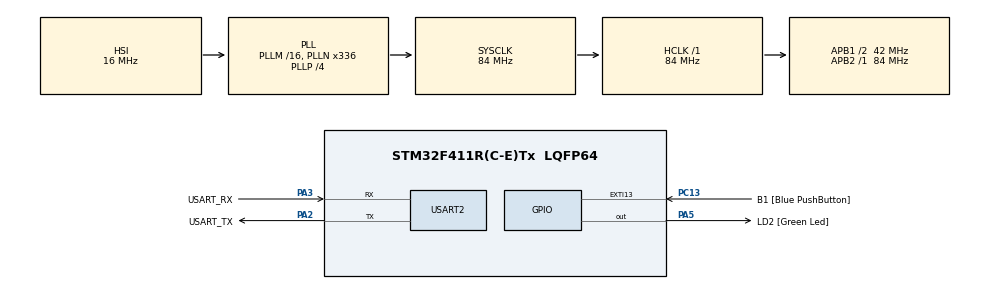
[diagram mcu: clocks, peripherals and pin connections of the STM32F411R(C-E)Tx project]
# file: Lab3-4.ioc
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FREERTOS.Tasks01=defaultTask,0,128,StartDefaultTask,Default,NULL,Dynamic,NULL,NULL
Mcu.Family=STM32F4
Mcu.Name=STM32F411R(C-E)Tx
Mcu.Package=LQFP64
NVIC.PriorityGroup=NVIC_PRIORITYGROUP_4
PA13.GPIO_Label=TMS
PA13.Mode=Serial_Wire
PA13.Signal=SYS_JTMS-SWDIO
PA14.GPIO_Label=TCK
PA14.Mode=Serial_Wire
PA14.Signal=SYS_JTCK-SWCLK
PA2.GPIO_Label=USART_TX
PA2.Mode=Asynchronous
PA2.Signal=USART2_TX
PA3.GPIO_Label=USART_RX
PA3.Mode=Asynchronous
PA3.Signal=USART2_RX
PA5.GPIO_Label=LD2 [Green Led]
PA5.Signal=GPIO_Output
PB3.GPIO_Label=SWO
PB3.Signal=SYS_JTDO-SWO
PC13-ANTI_TAMP.GPIO_Label=B1 [Blue PushButton]
PC13-ANTI_TAMP.GPIO_ModeDefaultEXTI=GPIO_MODE_IT_FALLING
PC13-ANTI_TAMP.Signal=GPXTI13
PC14-OSC32_IN.Mode=LSE-External-Oscillator
PC14-OSC32_IN.Signal=RCC_OSC32_IN
PC15-OSC32_OUT.Mode=LSE-External-Oscillator
PC15-OSC32_OUT.Signal=RCC_OSC32_OUT
PH0\ -\ OSC_IN.Mode=HSE-External-Clock-Source
PH0\ -\ OSC_IN.Signal=RCC_OSC_IN
PH1\ -\ OSC_OUT.Mode=HSE-External-Clock-Source
PH1\ -\ OSC_OUT.Signal=RCC_OSC_OUT
ProjectManager.HeapSize=0x200
ProjectManager.StackSize=0x400
ProjectManager.TargetToolchain=STM32CubeIDE
RCC.48MHZClocksFreq_Value=84000000
RCC.AHBFreq_Value=84000000
RCC.APB1CLKDivider=RCC_HCLK_DIV2
RCC.APB1Freq_Value=42000000
RCC.APB1TimFreq_Value=84000000
RCC.APB2Freq_Value=84000000
RCC.APB2TimFreq_Value=84000000
RCC.CortexFreq_Value=84000000
RCC.FLatency-AdvancedSettings=FLASH_LATENCY_2
RCC.HCLKFreq_Value=84000000
RCC.HSE_VALUE=8000000
RCC.HSI_VALUE=16000000
RCC.PLLN=336
RCC.PLLP=RCC_PLLP_DIV4
RCC.SYSCLKFreq_VALUE=84000000
RCC.SYSCLKSource=RCC_SYSCLKSOURCE_PLLCLK
RCC.VCOOutputFreq_Value=336000000
USART2.VirtualMode=VM_ASYNC
VP_FREERTOS_VS_CMSIS_V1.Mode=CMSIS_V1
board=NUCLEO-F411RE

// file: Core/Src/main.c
/* USER CODE BEGIN Header */
/**
 ******************************************************************************
 * @file           : main.c
 * @brief          : Main program body
 ******************************************************************************
 * @attention
 *
 * <h2><center>&copy; Copyright (c) 2021 STMicroelectronics.
 * All rights reserved.</center></h2>
 *
 * This software component is licensed by ST under BSD 3-Clause license,
 * the "License"; You may not use this file except in compliance with the
 * License. You may obtain a copy of the License at:
 *                        opensource.org/licenses/BSD-3-Clause
 *
 ******************************************************************************
 */
/* USER CODE END Header */
#include "main.h"
#include "cmsis_os.h"

UART_HandleTypeDef huart2;

osThreadId defaultTaskHandle;

void SystemClock_Config(void);
static void MX_GPIO_Init(void);
static void MX_USART2_UART_Init(void);
void StartDefaultTask(void const *argument);

/* USER CODE BEGIN 0 */
typedef struct {
    char value[32];
} message_t;

osPoolDef(mpool, 16, message_t);
osPoolId  mpool;

/* USER CODE END 0 */

int main(void) {

	/* MCU Configuration--------------------------------------------------------*/

	/* Reset of all peripherals, Initializes the Flash interface and the Systick. */
	HAL_Init();

	/* Configure the system clock */
	SystemClock_Config();

	/* Initialize all configured peripherals */
	MX_GPIO_Init();
	MX_USART2_UART_Init();

	/* Create the thread(s) */
	/* definition and creation of defaultTask */
	osThreadDef(defaultTask, StartDefaultTask, osPriorityNormal, 0, 128);
	defaultTaskHandle = osThreadCreate(osThread(defaultTask), NULL);

	/* Start scheduler */
	osKernelStart();

	/* We should never get here as control is now taken by the scheduler */
	/* Infinite loop */
	while (1) {

	}
}

void SystemClock_Config(void) {
	RCC_OscInitTypeDef RCC_OscInitStruct = { 0 };
	RCC_ClkInitTypeDef RCC_ClkInitStruct = { 0 };

	/** Configure the main internal regulator output voltage
	 */
	__HAL_RCC_PWR_CLK_ENABLE();
	__HAL_PWR_VOLTAGESCALING_CONFIG(PWR_REGULATOR_VOLTAGE_SCALE1);
	/** Initializes the RCC Oscillators according to the specified parameters
	 * in the RCC_OscInitTypeDef structure.
	 */
	RCC_OscInitStruct.OscillatorType = RCC_OSCILLATORTYPE_HSI;
	RCC_OscInitStruct.HSIState = RCC_HSI_ON;
	RCC_OscInitStruct.HSICalibrationValue = RCC_HSICALIBRATION_DEFAULT;
	RCC_OscInitStruct.PLL.PLLState = RCC_PLL_ON;
	RCC_OscInitStruct.PLL.PLLSource = RCC_PLLSOURCE_HSI;
	RCC_OscInitStruct.PLL.PLLM = 16;
	RCC_OscInitStruct.PLL.PLLN = 336;
	RCC_OscInitStruct.PLL.PLLP = RCC_PLLP_DIV4;
	RCC_OscInitStruct.PLL.PLLQ = 4;
	if (HAL_RCC_OscConfig(&RCC_OscInitStruct) != HAL_OK) {
		Error_Handler();
	}
	/** Initializes the CPU, AHB and APB buses clocks
	 */
	RCC_ClkInitStruct.ClockType = RCC_CLOCKTYPE_HCLK | RCC_CLOCKTYPE_SYSCLK
			| RCC_CLOCKTYPE_PCLK1 | RCC_CLOCKTYPE_PCLK2;
	RCC_ClkInitStruct.SYSCLKSource = RCC_SYSCLKSOURCE_PLLCLK;
	RCC_ClkInitStruct.AHBCLKDivider = RCC_SYSCLK_DIV1;
	RCC_ClkInitStruct.APB1CLKDivider = RCC_HCLK_DIV2;
	RCC_ClkInitStruct.APB2CLKDivider = RCC_HCLK_DIV1;

	if (HAL_RCC_ClockConfig(&RCC_ClkInitStruct, FLASH_LATENCY_2) != HAL_OK) {
		Error_Handler();
	}
}

static void MX_USART2_UART_Init(void) {

	huart2.Instance = USART2;
	huart2.Init.BaudRate = 115200;
	huart2.Init.WordLength = UART_WORDLENGTH_8B;
	huart2.Init.StopBits = UART_STOPBITS_1;
	huart2.Init.Parity = UART_PARITY_NONE;
	huart2.Init.Mode = UART_MODE_TX_RX;
	huart2.Init.HwFlowCtl = UART_HWCONTROL_NONE;
	huart2.Init.OverSampling = UART_OVERSAMPLING_16;
	if (HAL_UART_Init(&huart2) != HAL_OK) {
		Error_Handler();
	}

}

static void MX_GPIO_Init(void) {
	GPIO_InitTypeDef GPIO_InitStruct = { 0 };

	/* GPIO Ports Clock Enable */
	__HAL_RCC_GPIOC_CLK_ENABLE();
	__HAL_RCC_GPIOH_CLK_ENABLE();
	__HAL_RCC_GPIOA_CLK_ENABLE();
	__HAL_RCC_GPIOB_CLK_ENABLE();

	/*Configure GPIO pin Output Level */
	HAL_GPIO_WritePin(LD2_GPIO_Port, LD2_Pin, GPIO_PIN_RESET);

	/*Configure GPIO pin : B1_Pin */
	GPIO_InitStruct.Pin = B1_Pin;
	GPIO_InitStruct.Mode = GPIO_MODE_IT_FALLING;
	GPIO_InitStruct.Pull = GPIO_NOPULL;
	HAL_GPIO_Init(B1_GPIO_Port, &GPIO_InitStruct);

	/*Configure GPIO pin : LD2_Pin */
	GPIO_InitStruct.Pin = LD2_Pin;
	GPIO_InitStruct.Mode = GPIO_MODE_OUTPUT_PP;
	GPIO_InitStruct.Pull = GPIO_NOPULL;
	GPIO_InitStruct.Speed = GPIO_SPEED_FREQ_LOW;
	HAL_GPIO_Init(LD2_GPIO_Port, &GPIO_InitStruct);

}

/* USER CODE BEGIN 4 */

osMessageQId message_q_id;
osMessageQDef(message_q, 32, char);

void led_thread(void const *args) {
	while (1) {
		HAL_GPIO_TogglePin(GPIOA, GPIO_PIN_5);
		osDelay(18);
	}
}

void a_thread(void const *args){
	char c = 'A';
	while(1){
		HAL_UART_Transmit(&huart2,&c,1,50);
		osDelay(1000);
	}
}

void b_thread(void const *args){
	char c = 'B';
	while(1){
		HAL_UART_Transmit(&huart2,&c,1,128);
		osDelay(1000);
	}
}

void send0_thread(void const *args) {
	int threadID = 0;
	int idx = 0;
//	char buffer[32];
	while (1) {
		message_t *message = (message_t*)osPoolAlloc(mpool);
		sprintf(message->value, "TID: %d %d\r\n", threadID, idx);

		idx++;

		osMessagePut(message_q_id, (uint32_t)message, osWaitForever);
		osDelay(1000);
	}
}

void send1_thread(void const *args) {
	int threadID = 1;
	int idx = 0;
//	char buffer[32];
	while (1) {

		message_t *message = (message_t*)osPoolAlloc(mpool);
		sprintf(*(message->value), "TID: %d %d\r\n", threadID, idx);

		idx++;

		osMessagePut(message_q_id, (uint32_t)message, osWaitForever);
		osDelay(1000);
	}
}

void recv_thread(void const *args) {
	while (1) {
		osEvent evt = osMessageGet(message_q_id, osWaitForever);
		if (evt.status == osEventMessage) {
			message_t *message = (message_t*)evt.value.p;
			HAL_UART_Transmit(&huart2, message->value, sizeof(message->value), 1000);
			osPoolFree(mpool, message);
		}
	}
}

/* USER CODE END 4 */

void StartDefaultTask(void const *argument) {
	/* USER CODE BEGIN 5 */
	message_q_id = osMessageCreate(osMessageQ(message_q), NULL);

	osThreadDef(a, a_thread, osPriorityNormal, 1, 128);
	osThreadDef(b, b_thread, osPriorityNormal, 1, 128);
	osThreadDef(s0, send0_thread, osPriorityNormal, 1, 128);
	osThreadDef(s1, send1_thread, osPriorityNormal, 1, 128);
	osThreadDef(r1, recv_thread, osPriorityNormal, 1, 128);

	osThreadId tid_thread1 = osThreadCreate(osThread(s0), NULL);
	osThreadId tid_thread2 = osThreadCreate(osThread(s1), NULL);
	osThreadId tid_thread3 = osThreadCreate(osThread(r1), NULL);
	osThreadId tid_thread4 = osThreadCreate(osThread(a), NULL);
	osThreadId tid_thread5 = osThreadCreate(osThread(b), NULL);

	osThreadDef(led, led_thread, osPriorityNormal, 0, 128);
	osThreadId led_th = osThreadCreate(osThread(led), NULL);

	/* Infinite loop */
	for (;;) {
		osDelay(1);
	}
	/* USER CODE END 5 */
}

void Error_Handler(void) {
	__disable_irq();
	while (1) {
	}
}

/************************ (C) COPYRIGHT STMicroelectronics *****END OF FILE****/
